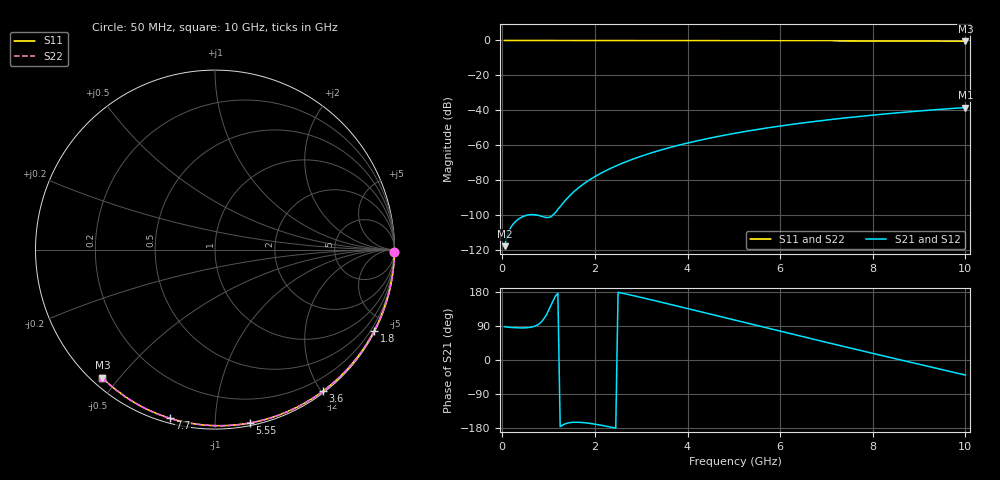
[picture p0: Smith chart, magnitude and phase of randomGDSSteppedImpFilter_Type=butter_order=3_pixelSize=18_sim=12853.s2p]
! freq	dB(S11)	phase(S11)	dB(S12)	phase(S12)
!  dB(S21)	phase(S21)	dB(S22)	phase(S22)
!S-par simulation data
#  GHz  S  DB  R 50
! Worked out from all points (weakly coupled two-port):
!   200 points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, 50 MHz to 10 GHz, reference 50 ohm
!   highest |S21| = -38.47 dB at 10 GHz (marker M1); lowest = -118.0 dB at 50 MHz (marker M2)
!   lowest |S11| = -0.4 dB at 10 GHz (marker M3), VSWR 39.22, Z = 1.54 - j22.6 ohm
!   |S11| at or under -10 dB: nowhere
!   |S22| runs from -0.4 to 0.0 dB; largest |S21 - S12| = 0
!   S11 on the Smith chart (normalised r, x): 50 MHz: open; 1.8 GHz: 0.04, -4.18; 3.6 GHz: 0.02, -2.02; 5.55 GHz: 0.02, -1.22; 7.7 GHz: 0.02, -0.77; 10 GHz: 0.03, -0.45
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0.05  -0.00 -0.8  -118.00 88.1  -118.00 88.1  -0.00 -0.8
0.9  -0.02 -13.6  -101.30 109.3  -101.30 109.3  -0.02 -13.6
1.75  -0.03 -26.2  -82.40 -165.2  -82.40 -165.2  -0.03 -26.2
1.8  -0.03 -26.9  -81.46 -165.8  -81.46 -165.8  -0.03 -26.9
1.85  -0.04 -27.7  -80.56 -166.6  -80.56 -166.6  -0.04 -27.7
1.9  -0.04 -28.4  -79.70 -167.4  -79.70 -167.4  -0.04 -28.4
2.05  -0.04 -30.6  -77.31 -170.3  -77.31 -170.3  -0.04 -30.6
2.25  -0.04 -33.5  -74.50 -174.9  -74.50 -174.9  -0.04 -33.5
2.45  -0.05 -36.4  -72.01 -179.9  -72.01 -179.9  -0.05 -36.4
2.65  -0.05 -39.2  -69.79 174.8  -69.79 174.8  -0.05 -39.2
3  -0.06 -44.2  -66.37 165.1  -66.37 165.1  -0.06 -44.2
3.4  -0.07 -49.9  -63.03 153.5  -63.03 153.5  -0.07 -49.9
3.6  -0.07 -52.6  -61.54 147.6  -61.54 147.6  -0.07 -52.6
4.3  -0.09 -62.2  -57.03 126.8  -57.03 126.8  -0.09 -62.2
5.05  -0.11 -72.2  -53.10 104.4  -53.10 104.4  -0.11 -72.2
5.55  -0.13 -78.6  -50.87 89.5  -50.87 89.5  -0.13 -78.6
6.1  -0.15 -85.6  -48.70 73.1  -48.70 73.1  -0.15 -85.6
6.7  -0.18 -93.0  -46.60 55.4  -46.60 55.4  -0.18 -93.0
7.7  -0.24 -105.0  -43.62 26.1  -43.62 26.1  -0.24 -105.0
8.35  -0.29 -112.6  -41.95 7.3  -41.95 7.3  -0.29 -112.6
9.15  -0.36 -121.7  -40.14 -15.5  -40.14 -15.5  -0.36 -121.7
10  -0.44 -131.3  -38.47 -39.7  -38.47 -39.7  -0.44 -131.3
